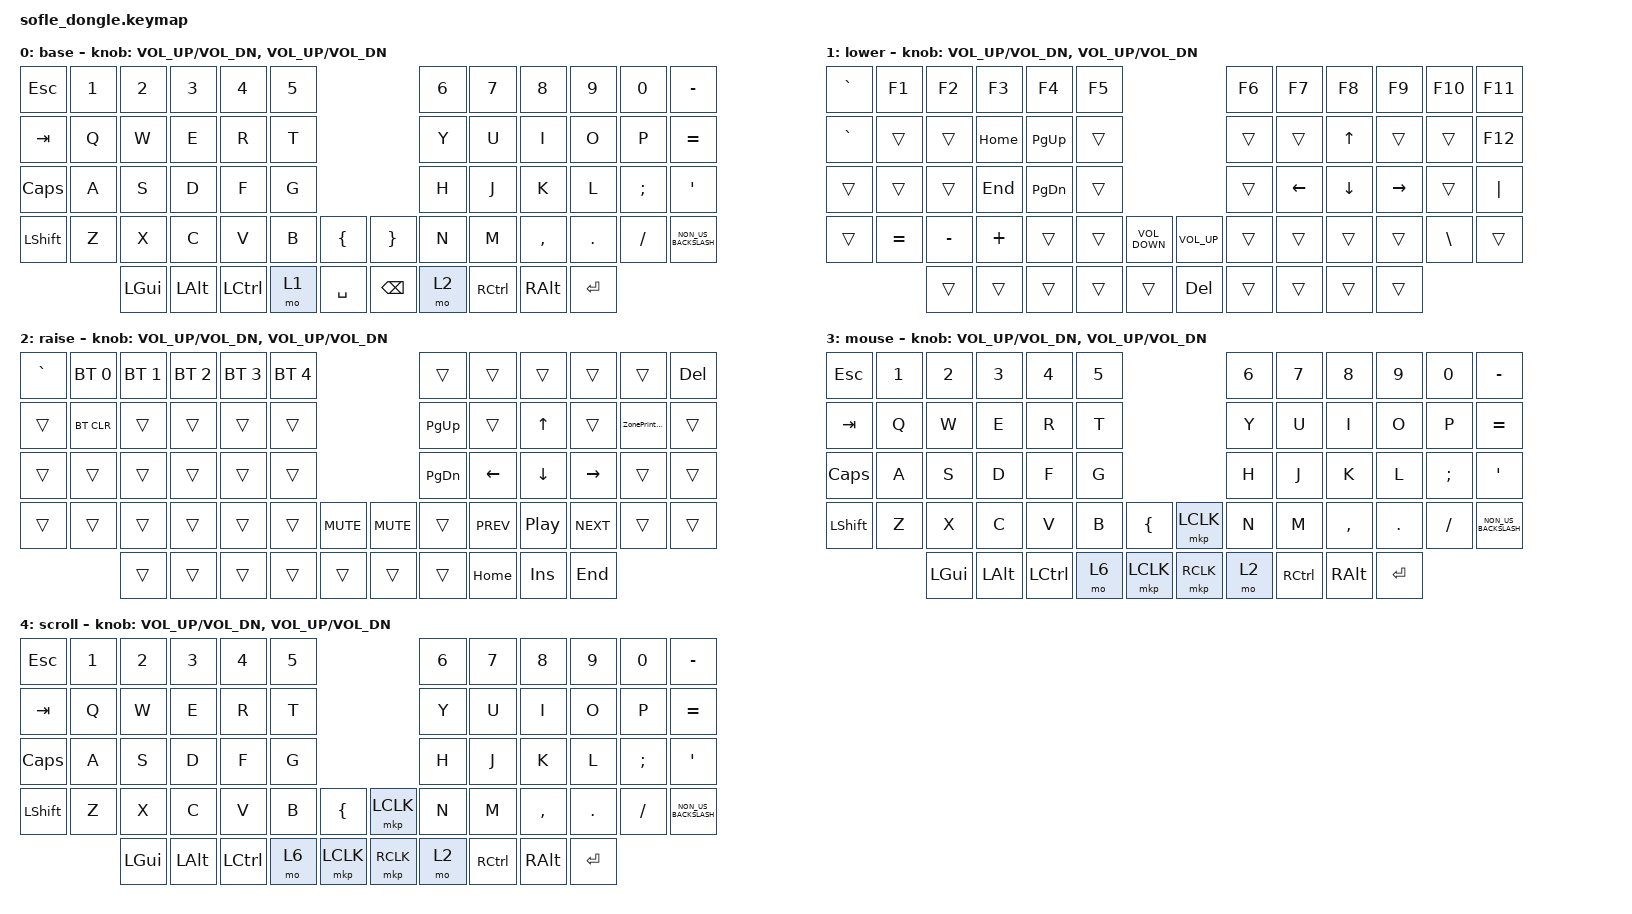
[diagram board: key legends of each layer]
/*
 * ============================================================================
 * DONGLE KEYMAP - Used by the dongle (central device)
 * ============================================================================
 * The dongle receives key events from peripherals and sends HID to the host.
 * Layer definitions here must match config/atlas.keymap for proper functionality.
 *
 * Mouse/scroll layers (5, 6) are defined here with thumb key bindings since
 * the dongle handles pointing device input processing.
 */

#include <behaviors.dtsi>
#include <dt-bindings/zmk/keys.h>
#include <dt-bindings/zmk/bt.h>
#include <dt-bindings/zmk/outputs.h>
#include <dt-bindings/zmk/mouse.h>


#define BASE 0
#define LOWER 1
#define RAISE 2
#define MOUSE 3
#define SCROLL 4

/ {
        keymap {
                compatible = "zmk,keymap";

                /*
                 * DEFAULT LAYER (Base layer - your main typing layer)
                 *
                 * KEYMAP STRUCTURE:
                 * - Each row is defined on a separate line
                 * - Keys are separated by spaces
                 * - The visual layout shows the physical key positions
                 * - To DISABLE a key: replace its binding with &trans (transparent/no-op)
                 * - To CHANGE a key: replace the key code (e.g., &kp Q becomes &kp Z)
                 *
                 * COMMON KEY CODES:
                 * - &kp KEYNAME (e.g., &kp Q, &kp SPACE, &kp ENTER)
                 * - &mo LAYER_NUMBER (momentary layer switch)
                 * - &mt MODIFIER KEY (mod-tap: hold for modifier, tap for key)
                 * - &lt LAYER KEY (layer-tap: hold for layer, tap for key)
                 * - &trans (transparent - key does nothing)
                 * - &bt BT_SEL N (Bluetooth device selection)
                 */
                        base_layer {
            display-name = "base";
            bindings = <
&kp ESCAPE    &kp N1  &kp N2    &kp N3    &kp N4     &kp N5                                     &kp N6  &kp N7     &kp N8     &kp N9   &kp N0    &kp MINUS
&kp TAB       &kp Q   &kp W     &kp E     &kp R      &kp T                                      &kp Y   &kp U      &kp I      &kp O    &kp P     &kp EQUAL
&kp CAPSLOCK  &kp A   &kp S     &kp D     &kp F      &kp G                                      &kp H   &kp J      &kp K      &kp L    &kp SEMI  &kp SQT
&kp LSHFT     &kp Z   &kp X     &kp C     &kp V      &kp B   &kp LEFT_BRACE    &kp RIGHT_BRACE  &kp N   &kp M      &kp COMMA  &kp DOT  &kp FSLH  &kp NON_US_BACKSLASH
                      &kp LGUI  &kp LALT  &kp LCTRL  &mo 1   &kp SPACE         &kp BACKSPACE    &mo 2   &kp RCTRL  &kp RALT   &kp RET
            >;

            sensor-bindings =
                <&inc_dec_kp C_VOL_UP C_VOL_DN>,
                <&inc_dec_kp C_VOL_UP C_VOL_DN>;
        };

        lower_layer {
            display-name = "lower";
            bindings = <
&kp GRAVE  &kp F1     &kp F2     &kp F3    &kp F4         &kp F5                                        &kp F6  &kp F7          &kp F8          &kp F9           &kp F10   &kp F11
&kp GRAVE  &trans     &trans     &kp HOME  &kp PAGE_UP    &trans                                        &trans  &trans          &kp UP_ARROW    &trans           &trans    &kp F12
&trans     &trans     &trans     &kp END   &kp PAGE_DOWN  &trans                                        &trans  &kp LEFT_ARROW  &kp DOWN_ARROW  &kp RIGHT_ARROW  &trans    &kp PIPE
&trans     &kp EQUAL  &kp MINUS  &kp PLUS  &trans         &trans  &kp C_VOLUME_DOWN    &kp C_VOLUME_UP  &trans  &trans          &trans          &trans           &kp BSLH  &trans
                      &trans     &trans    &trans         &trans  &trans               &kp DELETE       &trans  &trans          &trans          &trans
            >;

            sensor-bindings =
                <&inc_dec_kp C_VOL_UP C_VOL_DN>,
                <&inc_dec_kp C_VOL_UP C_VOL_DN>;
        };

        raise_layer {
            display-name = "raise";
            bindings = <
&kp GRAVE  &bt BT_SEL 0  &bt BT_SEL 1  &bt BT_SEL 2  &bt BT_SEL 3  &bt BT_SEL 4                            &trans     &trans      &trans            &trans      &trans            &kp DELETE
&trans     &bt BT_CLR    &trans        &trans        &trans        &trans                                  &kp PG_UP  &trans      &kp UP            &trans      &ZonePrintScreen  &trans
&trans     &trans        &trans        &trans        &trans        &trans                                  &kp PG_DN  &kp LEFT    &kp DOWN          &kp RIGHT   &trans            &trans
&trans     &trans        &trans        &trans        &trans        &trans        &kp K_MUTE    &kp K_MUTE  &trans     &kp C_PREV  &kp C_PLAY_PAUSE  &kp C_NEXT  &trans            &trans
                         &trans        &trans        &trans        &trans        &trans        &trans      &trans     &kp HOME    &kp INSERT        &kp END
            >;

            sensor-bindings =
                <&inc_dec_kp C_VOL_UP C_VOL_DN>,
                <&inc_dec_kp C_VOL_UP C_VOL_DN>;
        };

                /*
                 * MOUSE LAYER (Layer 5) - Auto-activates on trackball/trackpoint movement
                 * Thumb keys become: SCROLL | LEFT CLICK | LEFT CLICK | RIGHT CLICK
                 */
                mouse_layer {
                display-name = "mouse";
                bindings = <
&kp ESCAPE    &kp N1  &kp N2    &kp N3    &kp N4     &kp N5                                &kp N6  &kp N7     &kp N8     &kp N9   &kp N0    &kp MINUS
&kp TAB       &kp Q   &kp W     &kp E     &kp R      &kp T                                 &kp Y   &kp U      &kp I      &kp O    &kp P     &kp EQUAL
&kp CAPSLOCK  &kp A   &kp S     &kp D     &kp F      &kp G                                 &kp H   &kp J      &kp K      &kp L    &kp SEMI  &kp SQT
&kp LSHFT     &kp Z   &kp X     &kp C     &kp V      &kp B   &kp LEFT_BRACE    &mkp LCLK   &kp N   &kp M      &kp COMMA  &kp DOT  &kp FSLH  &kp NON_US_BACKSLASH
                      &kp LGUI  &kp LALT  &kp LCTRL  &mo 6   &mkp LCLK         &mkp RCLK   &mo 2   &kp RCTRL  &kp RALT   &kp RET
            >;

 sensor-bindings =
                <&inc_dec_kp C_VOL_UP C_VOL_DN>,
                <&inc_dec_kp C_VOL_UP C_VOL_DN>;
                };

                /* SCROLL LAYER (Layer 6) - Hold left thumb 1 for scroll mode */
                scroll_layer {
                display-name = "scroll";
                        bindings = <
&kp ESCAPE    &kp N1  &kp N2    &kp N3    &kp N4     &kp N5                                &kp N6  &kp N7     &kp N8     &kp N9   &kp N0    &kp MINUS
&kp TAB       &kp Q   &kp W     &kp E     &kp R      &kp T                                 &kp Y   &kp U      &kp I      &kp O    &kp P     &kp EQUAL
&kp CAPSLOCK  &kp A   &kp S     &kp D     &kp F      &kp G                                 &kp H   &kp J      &kp K      &kp L    &kp SEMI  &kp SQT
&kp LSHFT     &kp Z   &kp X     &kp C     &kp V      &kp B   &kp LEFT_BRACE    &mkp LCLK   &kp N   &kp M      &kp COMMA  &kp DOT  &kp FSLH  &kp NON_US_BACKSLASH
                      &kp LGUI  &kp LALT  &kp LCTRL  &mo 6   &mkp LCLK         &mkp RCLK   &mo 2   &kp RCTRL  &kp RALT   &kp RET
            >;

 sensor-bindings =
                <&inc_dec_kp C_VOL_UP C_VOL_DN>,
                <&inc_dec_kp C_VOL_UP C_VOL_DN>;
                };
        };
};
